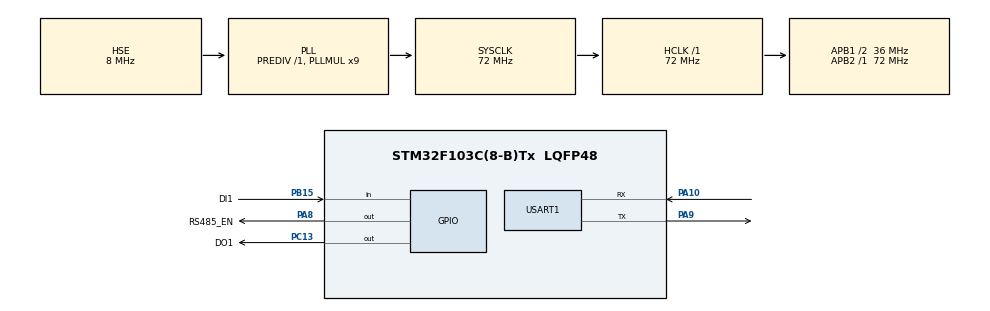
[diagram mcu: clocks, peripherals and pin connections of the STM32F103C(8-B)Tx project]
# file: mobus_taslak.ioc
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Mcu.Family=STM32F1
Mcu.Name=STM32F103C(8-B)Tx
Mcu.Package=LQFP48
NVIC.PriorityGroup=NVIC_PRIORITYGROUP_4
NVIC.USART1_IRQn=true\:0\:0\:false\:false\:true\:true\:true\:true
PA10.Mode=Asynchronous
PA10.Signal=USART1_RX
PA13.Mode=Serial_Wire
PA13.Signal=SYS_JTMS-SWDIO
PA14.Mode=Serial_Wire
PA14.Signal=SYS_JTCK-SWCLK
PA8.GPIO_Label=RS485_EN
PA8.GPIO_PuPd=GPIO_PULLDOWN
PA8.Signal=GPIO_Output
PA9.Mode=Asynchronous
PA9.Signal=USART1_TX
PB15.GPIO_Label=DI1
PB15.GPIO_PuPd=GPIO_PULLDOWN
PB15.Signal=GPIO_Input
PC13-TAMPER-RTC.GPIO_Label=DO1
PC13-TAMPER-RTC.GPIO_PuPd=GPIO_PULLDOWN
PC13-TAMPER-RTC.Signal=GPIO_Output
PD0-OSC_IN.Mode=HSE-External-Oscillator
PD0-OSC_IN.Signal=RCC_OSC_IN
PD1-OSC_OUT.Mode=HSE-External-Oscillator
PD1-OSC_OUT.Signal=RCC_OSC_OUT
ProjectManager.HeapSize=0x200
ProjectManager.StackSize=0x400
ProjectManager.TargetToolchain=STM32CubeIDE
RCC.AHBFreq_Value=72000000
RCC.APB1CLKDivider=RCC_HCLK_DIV2
RCC.APB1Freq_Value=36000000
RCC.APB1TimFreq_Value=72000000
RCC.APB2Freq_Value=72000000
RCC.APB2TimFreq_Value=72000000
RCC.HCLKFreq_Value=72000000
RCC.PLLMUL=RCC_PLL_MUL9
RCC.PLLSourceVirtual=RCC_PLLSOURCE_HSE
RCC.SYSCLKFreq_VALUE=72000000
RCC.SYSCLKSource=RCC_SYSCLKSOURCE_PLLCLK
RCC.USBFreq_Value=72000000
USART1.VirtualMode=VM_ASYNC
board=custom

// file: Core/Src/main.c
/* USER CODE BEGIN Header */
/**
  ******************************************************************************
  * @file           : main.c
  * @brief          : Main program body
  ******************************************************************************
  * @attention
  *
  * Copyright (c) 2023 STMicroelectronics.
  * All rights reserved.
  *
  * This software is licensed under terms that can be found in the LICENSE file
  * in the root directory of this software component.
  * If no LICENSE file comes with this software, it is provided AS-IS.
  *
  ******************************************************************************
  */
/* USER CODE END Header */
#include "main.h"

/* USER CODE BEGIN Includes */
#include "modbus.h"
/* USER CODE END Includes */

UART_HandleTypeDef huart1;

void SystemClock_Config(void);
static void MX_GPIO_Init(void);
static void MX_USART1_UART_Init(void);

/* USER CODE BEGIN 0 */
rs485info_ rs485info;
uint16_t adcDatas = 0;
uint16_t adcDatas2 = 0;
extern uint8_t rs485_uart1[512];
extern uint16_t count;

bool saveFlag = false;

////////////////////////////////////////////********MODBUS KONTROL FONKSIYONLARI START************////////////////////////////

/**
 * Handel Read Holding Registers (FC=03)
 * write back the values from eeprom (holding registers).
 */
uint8_t readMemory(uint8_t fc, uint16_t address, uint16_t length) {
    uint16_t analogValue = 0;
    /// read holding
    // read program memory.
	int i;
    for (i = 0; i < length; i++)
	{
        switch(address + i) // read holding register
		{

			case 0: // rs485 baudrate 0-14 arasi
					// 1:1200, 2:2400, 3:4800, 4:5800, 5:9600, 6:14400,
				    // 7:19200, 8:28800, 9:33600, 10:38400, 11:57600, 12:115200, 13: 230400, 14:256700
					// 5:9600 DEFAULT
			{
				analogValue = adcDatas2; //rs485info.baudrate;
				break;
			}
			case 1: // rs485 parity,
					// 1:NONE, 2:EVEN, 3:ODD
					// 1:NONE DEFAULT
			{
				analogValue = rs485info.parity;
				break;
			}
			case 2: // rs485 stopbit,
					// 1:ONE, 2:TWO
					// 1:ONE DEFAULT
			{
				analogValue = rs485info.stopbits;
				break;
			}
			case 3: // rs485 bytesize
					// 1:8B, 2:9B
					// 1:8B DEFAULT
			{
				analogValue = rs485info.bytesize;
				break;
			}
			case 4: // rs485 slaveId
					// 1-255
					// 1:1 DEFAULT
			{
				analogValue = rs485info.slaveId;
				break;
			}

			default:
			{
				analogValue = 0xffff;
			}

		}

		writeRegisterToBuffer(i, analogValue);
    }

    return STATUS_OK;
}

/**
 * Handle Write Holding Register(s) (FC=06, FC=16)
 * write data into eeprom.
 */
uint8_t writeMemory(uint8_t fc, uint16_t address, uint16_t length) {
    uint16_t analogValue;
    int i;
    // write to eeprom.
    saveFlag = false;
    for (i = 0; i < length; i++)
	{
		// get uint16_t value from the request buffer.
        analogValue = readRegisterFromBuffer(i);
		switch(address + i)
		{
			case 0: // rs485 baudrate 0-14 arasi
					// 1:1200, 2:2400, 3:4800, 4:5800, 5:9600, 6:14400,
				    // 7:19200, 8:28800, 9:33600, 10:38400, 11:57600, 12:115200, 13: 230400, 14:256700
					// 5:9600 DEFAULT
			{
				adcDatas2 = analogValue;
				/*if(analogValue <BAUDRATE_INDEX && analogValue > 0)
				{
					rs485info.baudrate = analogValue;
					saveFlag = true;
				}*/
				break;
			}
			case 1: // rs485 parity,
					// 1:NONE, 2:EVEN, 3:ODD
					// 1:NONE DEFAULT
			{
				if(analogValue < PARITY_INDEX &&  analogValue > 0)
				{
					rs485info.parity = analogValue;
					saveFlag = true;
				}
				break;
			}
			case 2: // rs485 stopbit,
					// 1:ONE, 2:TWO
					// 1:ONE DEFAULT
			{
				if(analogValue < STOPBIT_INDEX &&  analogValue > 0)
				{
					rs485info.stopbits = analogValue;
					saveFlag = true;
				}
				break;
			}
			case 3: // rs485 bytesize
					// 1:8B, 2:9B
					// 1:8B DEFAULT
			{
				if(analogValue < BYTESIZE_INDEX &&  analogValue > 0)
				{
					rs485info.bytesize = analogValue;
					saveFlag = true;
				}
				break;
			}
			case 4: // rs485 slaveId
					// 1-255
					// 1:1 DEFAULT
			{
				if(analogValue <= SLAVE_ID_MAX &&  analogValue > 0)
				{
					rs485info.slaveId = analogValue;
					saveFlag = true;
				}
				break;
			}

			/*default:
			{
				analogValue = 0xffff;
			}*/
		}
    }
    if(saveFlag == true)
	{
		// bir array olustur, protection, ve rs485 datalarini iceren, sonra kaydet.
		//SaveDatas();
	}
    return STATUS_OK;
}

/**
 * Handel Read Coils (FC=01)
 * write back the values from digital in pins (input status).
 */
uint8_t readCoils(uint8_t fc, uint16_t address, uint16_t length) {
    // read coils state
	GPIO_PinState pinState;
	int i ;
    for (i = 0; i < length; i++) {
        // write one boolean (1 bit) to the response buffer.
		switch(address + i)
		{
			case 0:
			{
				pinState = HAL_GPIO_ReadPin(DO1_GPIO_Port, DO1_Pin);
				break;
			}
			default:
			{
				pinState = GPIO_PIN_RESET;
			}
		}
        writeCoilToBuffer(i, pinState);
    }

    return STATUS_OK;
}

/**
 * Handle Force Single Coil (FC=05) and Force Multiple Coils (FC=15)
 * set digital output pins (coils).
 */
uint8_t writeCoils(uint8_t fc, uint16_t address, uint16_t length) {
    // set digital pin state(s).
	int i;
    for (i = 0; i < length; i++) {
    	switch(address + i)
    	{
			case 0:
			{
				switch(readCoilFromBuffer(i))
				{
					case HIGH:
					{
						HAL_GPIO_WritePin(DO1_GPIO_Port, DO1_Pin, GPIO_PIN_SET);
						break;
					}
					case LOW:
					{
						HAL_GPIO_WritePin(DO1_GPIO_Port, DO1_Pin, GPIO_PIN_RESET);
						break;
					}
					case ERROR:
						break;
				}

				break;
			}
    	}
    }
    return STATUS_OK;
}

/**
 * Handel Read Input Status (FC=02)
 * write back the values from digital in pins (input status).
 *
 * handler functions must return void and take:
 *      uint8_t  fc - function code.
 *      uint16_t address - first register/coil address.
 *      uint16_t length/status - length of data / coil status.
 */
uint8_t readDigitalIn(uint8_t fc, uint16_t address, uint16_t length)
{
	GPIO_PinState pinState;
	int i;
    // read digital input
    for (i = 0; i < length; i++) {
        // write one boolean (1 bit) to the response buffer.
		switch(address + i)
		{
			case 0:
			{
				pinState = HAL_GPIO_ReadPin(DI1_GPIO_Port, DI1_Pin);
				break;
			}
			default:
			{
				pinState = GPIO_PIN_RESET;
			}
		}
        writeCoilToBuffer(i, pinState);
    }

    return STATUS_OK;
}

/**
 * Handel Read Input Registers (FC=04)
 * write back the values from analog in pins (input registers).
 */
uint8_t readAnalogIn(uint8_t fc, uint16_t address, uint16_t length) {
    // read analog input
	int i;
	uint16_t analogValue;
    for (i = 0; i < length; i++) {
        // write uint16_t value to the response buffer.
       // writeRegisterToBuffer(i, analogRead(address + i));
	   switch(address + i)
		{
			case 0:
			{
				analogValue = adcDatas++;  // 0-10V 1
				break;
			}
			default:
			{
				analogValue = 0xffff;
			}

		}
        writeRegisterToBuffer(i, analogValue);
    }
    return STATUS_OK;
}

///////////////////////////////////////////*********MODBUS KONTROL FONKSIYONLARI END**************///////////////////////////////////

uint8_t returnAnswer(uint8_t *data, uint16_t length)
{
	HAL_GPIO_WritePin(RS485_EN_GPIO_Port, RS485_EN_Pin, GPIO_PIN_SET);
	while(GPIO_PIN_SET != HAL_GPIO_ReadPin(RS485_EN_GPIO_Port, RS485_EN_Pin));

	HAL_UART_Transmit(&huart1, data, length, 100);

	HAL_GPIO_WritePin(RS485_EN_GPIO_Port, RS485_EN_Pin, GPIO_PIN_RESET);
	while(GPIO_PIN_RESET != HAL_GPIO_ReadPin(RS485_EN_GPIO_Port, RS485_EN_Pin));

	if(saveFlag == true)
	{
		//MX_USART1_UART_Init_Re();
		saveFlag = false;
	}
}

void FabrikaAyarlari()
{
	rs485info.slaveId 	 	= 1;
	rs485info.baudrate    	= 5;
	rs485info.parity      	= 1;
	rs485info.stopbits   	= 1;
	rs485info.bytesize    	= 1;

	//SaveDatas();
}

/* USER CODE END 0 */

int main(void)
{

  /* MCU Configuration--------------------------------------------------------*/

  /* Reset of all peripherals, Initializes the Flash interface and the Systick. */
  HAL_Init();

  /* Configure the system clock */
  SystemClock_Config();

  /* Initialize all configured peripherals */
  MX_GPIO_Init();
  MX_USART1_UART_Init();
  /* USER CODE BEGIN 2 */

  FabrikaAyarlari();

	cbVector[CB_READ_COILS] = readCoils;
	cbVector[CB_READ_DISCRETE_INPUTS] = readDigitalIn;
	cbVector[CB_READ_HOLDING_REGISTERS] = readMemory;
	cbVector[CB_READ_INPUT_REGISTERS] = readAnalogIn;
	cbVector[CB_WRITE_COILS] = writeCoils;
	cbVector[CB_WRITE_REGISTERS] = writeMemory;

	rVector[RETURN_FUNCTION] = returnAnswer;

	HAL_GPIO_WritePin(RS485_EN_GPIO_Port, RS485_EN_Pin, GPIO_PIN_RESET);

	 GPIO_PinState rs485En;
  memset(rs485_uart1, 0x00, 512);
  	count = 0;

  	__HAL_UART_ENABLE_IT(&huart1, UART_IT_RXNE);

  /* USER CODE END 2 */

  /* Infinite loop */
  while (1)
  {

    /* USER CODE BEGIN 3 */
	  rs485En = HAL_GPIO_ReadPin(RS485_EN_GPIO_Port, RS485_EN_Pin);
	  if(count>0)
	  {
	    int countTemp = count;
		while(1)
		{
			countTemp = count;
			HAL_Delay((8000/huart1.Init.BaudRate)+3);
			if(countTemp == count) break;
		}
			 //time2 = HAL_GetTick() -time1;
		modbusAnalyser(rs485_uart1, count);
		//time2 = HAL_GetTick() -time1;
		count=0;
		memset(rs485_uart1, 0x00, 512);

	  }
	  //HAL_UART_Transmit(&huart1, (uint8_t*)"data", 4, 100);
	  HAL_Delay(1);
  }
  /* USER CODE END 3 */
}

void SystemClock_Config(void)
{
  RCC_OscInitTypeDef RCC_OscInitStruct = {0};
  RCC_ClkInitTypeDef RCC_ClkInitStruct = {0};

  /** Initializes the RCC Oscillators according to the specified parameters
  * in the RCC_OscInitTypeDef structure.
  */
  RCC_OscInitStruct.OscillatorType = RCC_OSCILLATORTYPE_HSE;
  RCC_OscInitStruct.HSEState = RCC_HSE_ON;
  RCC_OscInitStruct.HSEPredivValue = RCC_HSE_PREDIV_DIV1;
  RCC_OscInitStruct.HSIState = RCC_HSI_ON;
  RCC_OscInitStruct.PLL.PLLState = RCC_PLL_ON;
  RCC_OscInitStruct.PLL.PLLSource = RCC_PLLSOURCE_HSE;
  RCC_OscInitStruct.PLL.PLLMUL = RCC_PLL_MUL9;
  if (HAL_RCC_OscConfig(&RCC_OscInitStruct) != HAL_OK)
  {
    Error_Handler();
  }

  /** Initializes the CPU, AHB and APB buses clocks
  */
  RCC_ClkInitStruct.ClockType = RCC_CLOCKTYPE_HCLK|RCC_CLOCKTYPE_SYSCLK
                              |RCC_CLOCKTYPE_PCLK1|RCC_CLOCKTYPE_PCLK2;
  RCC_ClkInitStruct.SYSCLKSource = RCC_SYSCLKSOURCE_PLLCLK;
  RCC_ClkInitStruct.AHBCLKDivider = RCC_SYSCLK_DIV1;
  RCC_ClkInitStruct.APB1CLKDivider = RCC_HCLK_DIV2;
  RCC_ClkInitStruct.APB2CLKDivider = RCC_HCLK_DIV1;

  if (HAL_RCC_ClockConfig(&RCC_ClkInitStruct, FLASH_LATENCY_2) != HAL_OK)
  {
    Error_Handler();
  }
}

static void MX_USART1_UART_Init(void)
{

  huart1.Instance = USART1;
  huart1.Init.BaudRate = 115200;
  huart1.Init.WordLength = UART_WORDLENGTH_8B;
  huart1.Init.StopBits = UART_STOPBITS_1;
  huart1.Init.Parity = UART_PARITY_NONE;
  huart1.Init.Mode = UART_MODE_TX_RX;
  huart1.Init.HwFlowCtl = UART_HWCONTROL_NONE;
  huart1.Init.OverSampling = UART_OVERSAMPLING_16;
  if (HAL_UART_Init(&huart1) != HAL_OK)
  {
    Error_Handler();
  }

}

static void MX_GPIO_Init(void)
{
  GPIO_InitTypeDef GPIO_InitStruct = {0};

  /* GPIO Ports Clock Enable */
  __HAL_RCC_GPIOC_CLK_ENABLE();
  __HAL_RCC_GPIOD_CLK_ENABLE();
  __HAL_RCC_GPIOB_CLK_ENABLE();
  __HAL_RCC_GPIOA_CLK_ENABLE();

  /*Configure GPIO pin Output Level */
  HAL_GPIO_WritePin(DO1_GPIO_Port, DO1_Pin, GPIO_PIN_RESET);

  /*Configure GPIO pin Output Level */
  HAL_GPIO_WritePin(RS485_EN_GPIO_Port, RS485_EN_Pin, GPIO_PIN_RESET);

  /*Configure GPIO pin : DO1_Pin */
  GPIO_InitStruct.Pin = DO1_Pin;
  GPIO_InitStruct.Mode = GPIO_MODE_OUTPUT_PP;
  GPIO_InitStruct.Pull = GPIO_PULLDOWN;
  GPIO_InitStruct.Speed = GPIO_SPEED_FREQ_LOW;
  HAL_GPIO_Init(DO1_GPIO_Port, &GPIO_InitStruct);

  /*Configure GPIO pin : DI1_Pin */
  GPIO_InitStruct.Pin = DI1_Pin;
  GPIO_InitStruct.Mode = GPIO_MODE_INPUT;
  GPIO_InitStruct.Pull = GPIO_PULLDOWN;
  HAL_GPIO_Init(DI1_GPIO_Port, &GPIO_InitStruct);

  /*Configure GPIO pin : RS485_EN_Pin */
  GPIO_InitStruct.Pin = RS485_EN_Pin;
  GPIO_InitStruct.Mode = GPIO_MODE_OUTPUT_PP;
  GPIO_InitStruct.Pull = GPIO_PULLDOWN;
  GPIO_InitStruct.Speed = GPIO_SPEED_FREQ_LOW;
  HAL_GPIO_Init(RS485_EN_GPIO_Port, &GPIO_InitStruct);

}

void Error_Handler(void)
{
  __disable_irq();
  while (1)
  {
  }
}
